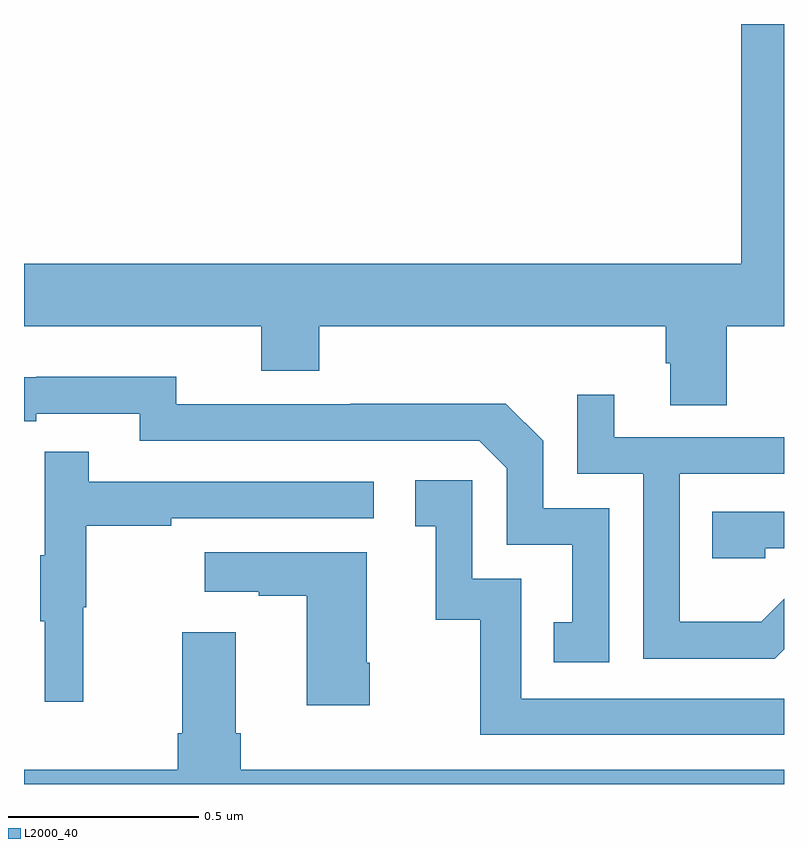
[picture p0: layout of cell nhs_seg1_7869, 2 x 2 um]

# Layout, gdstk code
import gdstk
lib = gdstk.Library(unit=1e-6, precision=1e-09)
def P(c, l, *ps):  # polygons
    for p in ps: c.add(gdstk.Polygon(p, *l))
L2000_40 = (2000, 40)

nhs_seg1_7869 = lib.new_cell('nhs_seg1_7869')
P(nhs_seg1_7869, L2000_40, [(210.849,546.404),(211,546.404),(211,547.199),(210.887,547.199),(210.887,546.568),(209,546.568),(209,546.404),(209.624,546.404),(209.624,546.287),(209.777,546.287),(209.777,546.404),(210.689,546.404),(210.689,546.306),(210.701,546.306),(210.701,546.196),(210.849,546.196)],
  [(210.54,545.925),(210.366,545.925),(210.366,546.102),(210.268,546.2),(209.86,546.2),(209.86,546.198),(209.4,546.198),(209.4,546.271),(209.032,546.271),(209.032,546.27),(209,546.27),(209,546.154),(209.032,546.154),(209.032,546.174),(209.304,546.174),(209.304,546.102),(210.198,546.102),(210.27,546.03),(210.27,545.829),(210.443,545.829),(210.443,545.625),(210.394,545.625),(210.394,545.52),(210.54,545.52)],
  [(211,545.553),(211,545.686),(210.94,545.626),(210.726,545.626),(210.726,546.015),(211,546.015),(211,546.111),(210.553,546.111),(210.553,546.223),(210.456,546.223),(210.456,546.015),(210.63,546.015),(210.63,545.529),(210.976,545.529)],
  [(209.156,545.664),(209.164,545.664),(209.164,545.878),(209.387,545.878),(209.387,545.898),(209.92,545.898),(209.92,545.994),(209.171,545.994),(209.171,546.073),(209.054,546.073),(209.054,545.801),(209.043,545.801),(209.043,545.627),(209.054,545.627),(209.054,545.415),(209.156,545.415)],
  [(211,545.424),(210.309,545.424),(210.309,545.739),(210.18,545.739),(210.18,545.998),(210.03,545.998),(210.03,545.877),(210.083,545.877),(210.083,545.631),(210.201,545.631),(210.201,545.328),(211,545.328)],
  [(210.951,545.82),(211,545.82),(211,545.916),(210.811,545.916),(210.811,545.793),(210.951,545.793)],
  [(209.91,545.518),(209.902,545.518),(209.902,545.809),(209.475,545.809),(209.475,545.705),(209.618,545.705),(209.618,545.695),(209.744,545.695),(209.744,545.406),(209.91,545.406)],
  [(211,545.236),(209.57,545.236),(209.57,545.332),(209.557,545.332),(209.557,545.599),(209.417,545.599),(209.417,545.332),(209.405,545.332),(209.405,545.236),(209,545.236),(209,545.199),(211,545.199)])

lib.write_gds('nhs_seg1_7869.gds')
